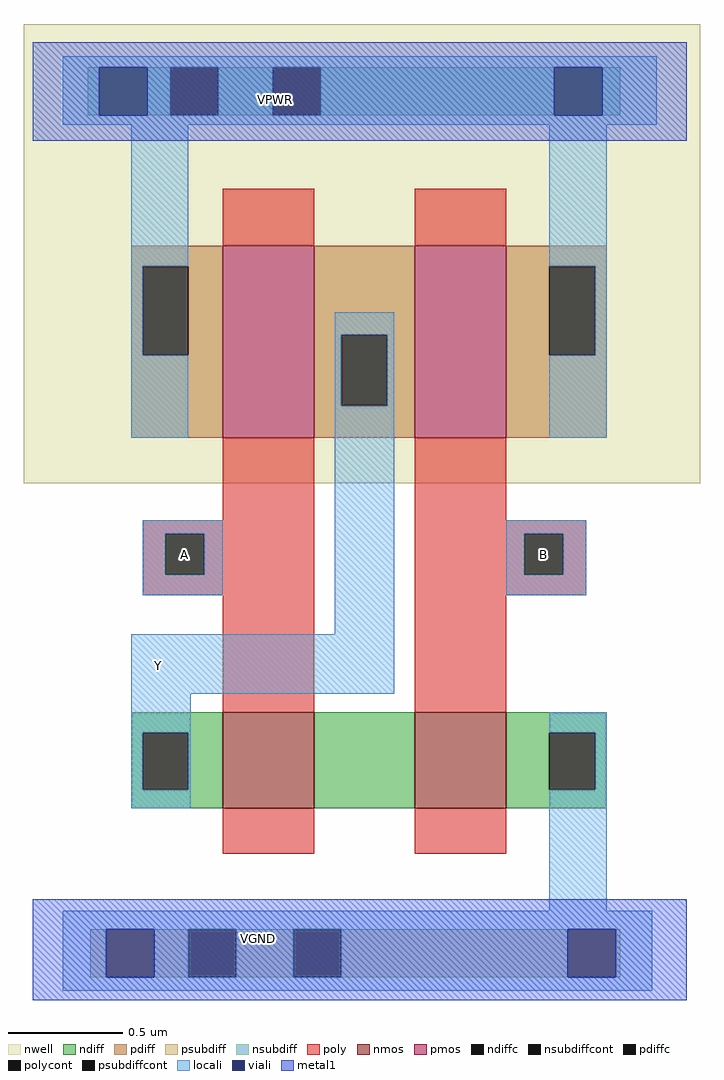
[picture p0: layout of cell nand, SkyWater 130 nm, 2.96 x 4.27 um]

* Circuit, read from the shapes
.subckt nand A VPWR VGND B Y
XM1 n1 A Y VGND sky130_fd_pr__nfet_01v8 w=0.42 l=0.4
XM2 VGND B n1 VGND sky130_fd_pr__nfet_01v8 w=0.42 l=0.4
XM3 Y A VPWR VPWR sky130_fd_pr__pfet_01v8 w=0.84 l=0.4
XM4 VPWR B Y VPWR sky130_fd_pr__pfet_01v8 w=0.84 l=0.4
.ends

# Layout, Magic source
magic
tech sky130A
<< nwell >>
rect -87 -62 209 139
<< nmos >>
rect 0 -204 40 -162
rect 84 -204 124 -162
<< pmos >>
rect 0 -42 40 42
rect 84 -42 124 42
<< ndiff >>
rect -40 -171 0 -162
rect -40 -196 -35 -171
rect -15 -196 0 -171
rect -40 -204 0 -196
rect 40 -204 84 -162
rect 124 -171 168 -162
rect 124 -196 143 -171
rect 163 -196 168 -171
rect 124 -204 168 -196
<< pdiff >>
rect -40 33 0 42
rect -40 -6 -35 33
rect -15 -6 0 33
rect -40 -42 0 -6
rect 40 3 84 42
rect 40 -28 52 3
rect 72 -28 84 3
rect 40 -42 84 -28
rect 124 33 168 42
rect 124 -6 143 33
rect 163 -6 168 33
rect 124 -42 168 -6
<< ndiffc >>
rect -35 -196 -15 -171
rect 143 -196 163 -171
<< pdiffc >>
rect -35 -6 -15 33
rect 52 -28 72 3
rect 143 -6 163 33
<< psubdiff >>
rect -58 -278 -15 -257
rect 6 -278 31 -257
rect 52 -278 174 -257
<< nsubdiff >>
rect -59 99 -23 120
rect -2 99 22 120
rect 43 99 174 120
<< psubdiffcont >>
rect -15 -278 6 -257
rect 31 -278 52 -257
<< nsubdiffcont >>
rect -23 99 -2 120
rect 22 99 43 120
<< poly >>
rect 0 42 40 67
rect 84 42 124 67
rect 0 -78 40 -42
rect -35 -84 40 -78
rect -35 -102 -25 -84
rect -8 -102 40 -84
rect -35 -111 40 -102
rect 0 -162 40 -111
rect 84 -78 124 -42
rect 84 -84 159 -78
rect 84 -102 132 -84
rect 149 -102 159 -84
rect 84 -111 159 -102
rect 84 -162 124 -111
rect 0 -224 40 -204
rect 84 -224 124 -204
<< polycont >>
rect -25 -102 -8 -84
rect 132 -102 149 -84
<< locali >>
rect -70 120 190 125
rect -70 99 -54 120
rect -33 99 -23 120
rect -2 99 22 120
rect 43 99 145 120
rect 166 99 190 120
rect -70 95 190 99
rect -40 33 -15 95
rect -40 -6 -35 33
rect 143 33 168 95
rect -40 -42 -15 -6
rect 49 3 75 13
rect 49 -28 52 3
rect 72 -28 75 3
rect -35 -84 0 -78
rect -35 -102 -25 -84
rect -8 -102 0 -84
rect -35 -111 0 -102
rect 49 -128 75 -28
rect 163 -6 168 33
rect 143 -42 168 -6
rect 124 -84 159 -78
rect 124 -102 132 -84
rect 149 -102 159 -84
rect 124 -111 159 -102
rect -40 -154 75 -128
rect -40 -171 -14 -154
rect -40 -196 -35 -171
rect -15 -196 -14 -171
rect -40 -204 -14 -196
rect 143 -171 168 -162
rect 163 -196 168 -171
rect 143 -249 168 -196
rect -70 -257 188 -249
rect -70 -278 -51 -257
rect -30 -278 -15 -257
rect 6 -278 31 -257
rect 52 -278 151 -257
rect 172 -278 188 -257
rect -70 -284 188 -278
<< viali >>
rect -54 99 -33 120
rect 145 99 166 120
rect -51 -278 -30 -257
rect 151 -278 172 -257
<< metal1 >>
rect -83 120 203 131
rect -83 99 -54 120
rect -33 99 145 120
rect 166 99 203 120
rect -83 88 203 99
rect -83 -257 203 -244
rect -83 -278 -51 -257
rect -30 -278 151 -257
rect 172 -278 203 -257
rect -83 -288 203 -278
<< labels >>
flabel metal1 s -10 98 56 114 0 FreeSans 120 0 0 0 VPWR
port 5 nsew
flabel locali s -25 -102 -8 -84 0 FreeSans 120 0 0 0 A
port 1 nsew
flabel metal1 s -13 -269 44 -253 0 FreeSans 120 0 0 0 VGND
port 6 nsew
flabel locali s 132 -102 149 -84 0 FreeSans 120 0 0 0 B
port 8 nsew
flabel locali s -38 -153 -18 -130 0 FreeSans 120 0 0 0 Y
port 9 nsew
<< end >>
